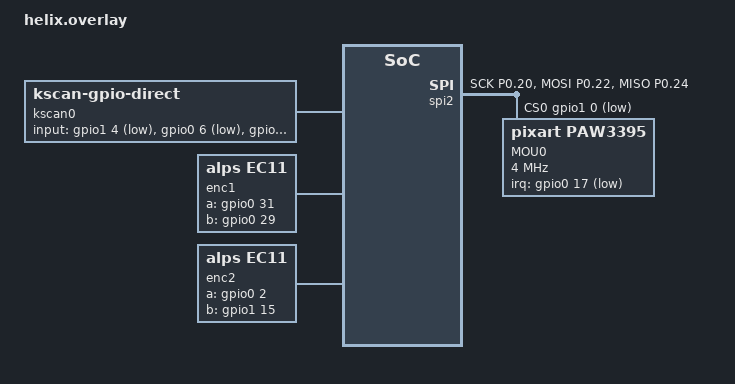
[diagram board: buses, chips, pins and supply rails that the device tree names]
#include <zephyr/dt-bindings/input/input-event-codes.h>
#include "helix.dtsi"
#include <dt-bindings/zmk/input_transform.h>
#include <input/processors/report_rate_limit.dtsi>
/ {
    chosen {
        zmk,kscan = &kscan0;
    };

    /* 9 direct inputs => 1 row x 9 cols via matrix-transform */
    kscan0: kscan {
        compatible = "zmk,kscan-gpio-direct";
        wakeup-source;

        /* Order MUST match your keymap positions 0..8 */
        input-gpios =
            <&gpio1 4  (GPIO_ACTIVE_LOW | GPIO_PULL_UP)>  /* 0: Left   P1.04 */
          , <&gpio0 6  (GPIO_ACTIVE_LOW | GPIO_PULL_UP)>  /* 1: Middle P0.06 */
          , <&gpio0 8  (GPIO_ACTIVE_LOW | GPIO_PULL_UP)>  /* 2: Right  P0.08 */
          , <&gpio0 11 (GPIO_ACTIVE_LOW | GPIO_PULL_UP)>  /* 3: DPI    P0.11 */
          , <&gpio1 6  (GPIO_ACTIVE_LOW | GPIO_PULL_UP)>  /* 4: Btn5   P1.06 */
          , <&gpio0 9  (GPIO_ACTIVE_LOW | GPIO_PULL_UP)>  /* 5: Btn4   P0.09 */
          , <&gpio0 10 (GPIO_ACTIVE_LOW | GPIO_PULL_UP)>  /* 6: Btn3   P0.10 */
          , <&gpio1 11 (GPIO_ACTIVE_LOW | GPIO_PULL_UP)>  /* 7: Btn2   P1.11 */
          , <&gpio1 13 (GPIO_ACTIVE_LOW | GPIO_PULL_UP)>; /* 8: Btn1   P1.13 */
    };
};

/* Encoders + PAW3395 wiring */
&pinctrl {
    spi2_default: spi2_default {
        group1 {
            psels =
                <NRF_PSEL(SPIM_SCK, 0, 20)>,
                <NRF_PSEL(SPIM_MOSI, 0, 22)>,
                <NRF_PSEL(SPIM_MISO, 0, 24)>;
        };
    };
    spi2_sleep: spi2_sleep {
        group1 {
            psels =
                <NRF_PSEL(SPIM_SCK, 0, 20)>,
                <NRF_PSEL(SPIM_MOSI, 0, 22)>,
                <NRF_PSEL(SPIM_MISO, 0, 24)>;
            low-power-enable;
        };
    };
};

&zip_report_rate_limit {
    limit-ble-only;
};

&spi2 {
    compatible = "nordic,nrf-spim";
    status = "okay";
    pinctrl-0 = <&spi2_default>;
    pinctrl-1 = <&spi2_sleep>;
    pinctrl-names = "default", "sleep";

    /* nCS = P1.00 */
    cs-gpios = <&gpio1 0 GPIO_ACTIVE_LOW>;

    pd0: pd@0 {
        compatible = "pixart,paw3395";
        status = "okay";
        label = "MOU0";
        reg = <0>;
        spi-max-frequency = <4000000>;

        /* Motion/IRQ = P0.17 */
        irq-gpios = <&gpio0 17 (GPIO_ACTIVE_LOW | GPIO_PULL_UP)>;

        /* Default CPI (can still be changed by behavior later) */
        cpi = <600>;

        evt-type = <INPUT_EV_REL>;
        x-input-code = <INPUT_REL_X>;
        y-input-code = <INPUT_REL_Y>;

        force-awake;
    };
};

/ {
    /* Encoder 1 (vertical wheel) */
    enc1: enc1 {
        compatible = "alps,ec11";
        status = "okay";
        a-gpios = <&gpio0 31 (GPIO_ACTIVE_HIGH | GPIO_PULL_UP)>;
        b-gpios = <&gpio0 29 (GPIO_ACTIVE_HIGH | GPIO_PULL_UP)>;
        steps = <48>;
    };

    /* Encoder 2 (horizontal wheel / tilt wheel style) */
    enc2: enc2 {
        compatible = "alps,ec11";
        status = "okay";
        a-gpios = <&gpio0 2  (GPIO_ACTIVE_HIGH | GPIO_PULL_UP)>;
        b-gpios = <&gpio1 15 (GPIO_ACTIVE_HIGH | GPIO_PULL_UP)>;
        steps = <48>;
    };

    sensors: sensors {
        compatible = "zmk,keymap-sensors";
        status = "okay";
        sensors = <&enc1 &enc2>;
        /* One value applies to the whole sensors node */
        triggers-per-rotation = <12>;
    };
};

/ {
    xy_transf: xy_transf {
        compatible = "zmk,input-processor-transform";
        #input-processor-cells = <1>;
        type = <INPUT_EV_REL>;
        x-codes = <INPUT_REL_X>;
        y-codes = <INPUT_REL_Y>;
    };

    mou0_listener {
        compatible = "zmk,input-listener";
        device = <&pd0>;

        base {
            layers = <0>; /* DEF layer index */
            input-processors = <&xy_transf (INPUT_TRANSFORM_Y_INVERT)>
                             , <&zip_report_rate_limit 15>;
        };
    };
};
